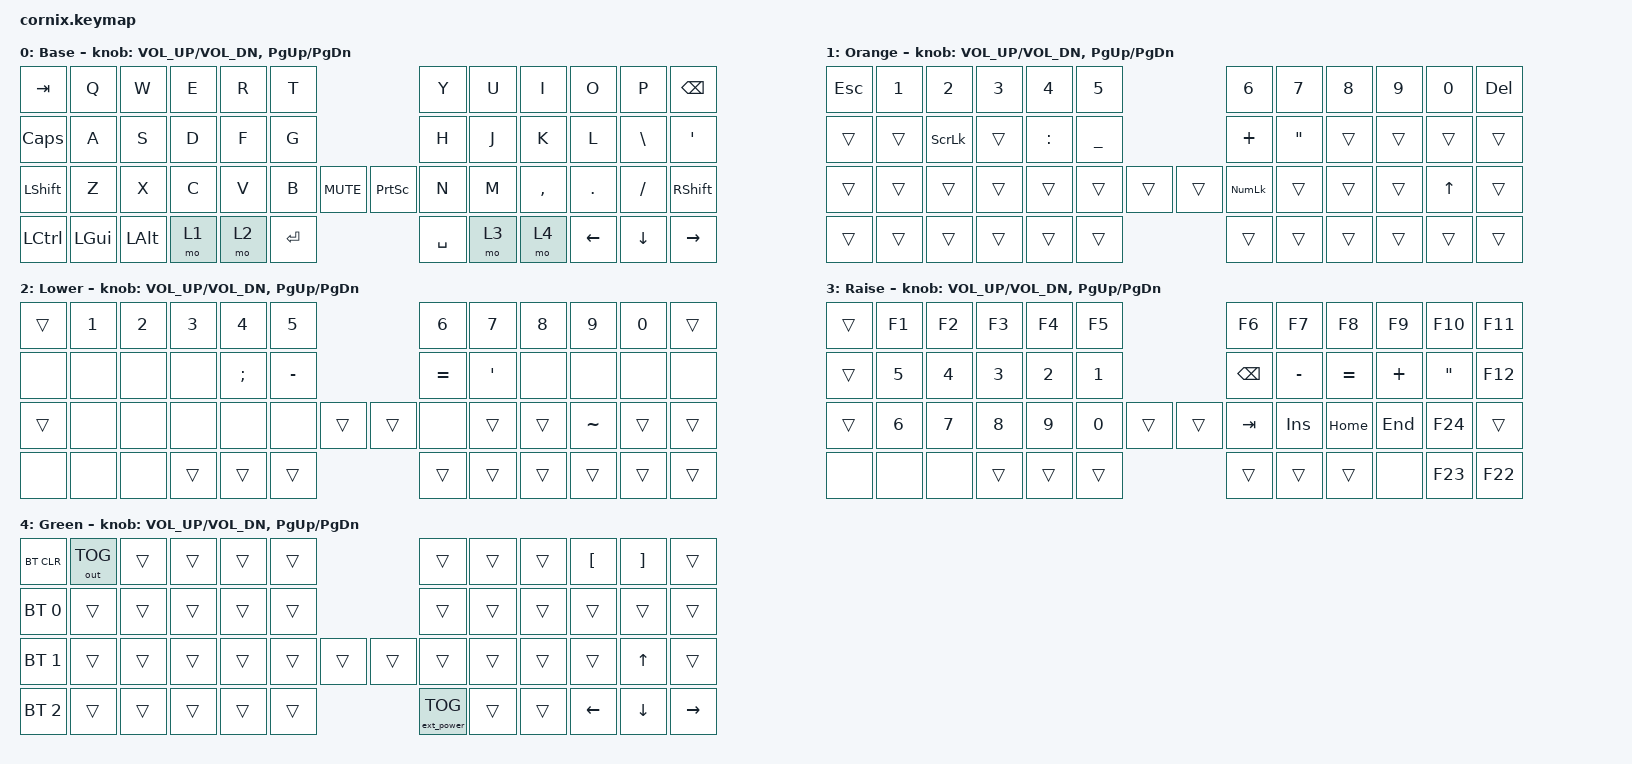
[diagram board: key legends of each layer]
/*
 * Copyright (c) 2025 The ZMK Contributors
 *
 * SPDX-License-Identifier: MIT
 */

#include "zmk-helpers/helper.h"
#include "includes/cornix54.h"
#include <behaviors.dtsi>
#include <dt-bindings/zmk/bt.h>
#include <dt-bindings/zmk/keys.h>
#include <dt-bindings/zmk/ext_power.h>
#include <dt-bindings/zmk/outputs.h>

// tap windows for ctl alt and gui

#define HM_TAPPING_TERM 250
#define HM_TAPPING_REPEAT 210

// quick tapping for shift

#define HM_TAPPING_TERM_FAST    200
#define HM_PRIOR_IDLE           70
#define ORANGE                  0
#define LOWER                   1
#define BASE                    2
#define RAISE                   3
#define GREEN                   4

// https://github.com/urob/zmk-config/tree/main#timeless-homerow-mods

#define KEYS_L LT0 LT1 LT2 LT3 LT4 LT5 LM0 LM1 LM2 LM3 LM4 LM5 LB0 LB1 LB2 LB3 LB4 LB5  // left hand
#define KEYS_R RT0 RT1 RT2 RT3 RT4 RT5 RM0 RM1 RM2 RM3 RM4 RM5 RB0 RB1 RB2 RB3 RB4 RB5  // right hand
#define THUMBS LH1 LH0 RH0 RH1
#define KEYS_T LH1 LH0 RH0 RH1
#define ZMK_POINTING_DEFAULT_SCRL_VAL 15

/ {

    conditional_layers { compatible = "zmk,conditional-layers"; };

    combos {
        compatible = "zmk,combos";

        new_combo {
            bindings = <&caps_word>;
            key-positions = <42 45>;
        };

        numlock_kp {
            bindings = <&tog 1>;
            key-positions = <41 46>;
        };
    };

    keymap {
        compatible = "zmk,keymap";

        default_layer {
            display-name = "Base";
            bindings = <
&kp TAB           &kp Q         &kp W         &kp E  &kp R  &kp T                                   &kp Y      &kp U  &kp I      &kp O           &kp P           &kp BACKSPACE
&kp CAPS          &kp A         &kp S         &kp D  &kp F  &kp G                                   &kp H      &kp J  &kp K      &kp L           &kp BACKSLASH   &kp SQT
&kp LSHFT         &kp Z         &kp X         &kp C  &kp V  &kp B      &kp C_MUTE  &kp PRINTSCREEN  &kp N      &kp M  &kp COMMA  &kp DOT         &kp FSLH        &kp RIGHT_SHIFT
&kp LEFT_CONTROL  &kp LEFT_GUI  &kp LEFT_ALT  &mo 1  &mo 2  &kp ENTER                               &kp SPACE  &mo 3  &mo 4      &kp LEFT_ARROW  &kp DOWN_ARROW  &kp RIGHT_ARROW
            >;

            sensor-bindings = <&inc_dec_kp C_VOL_UP C_VOL_DN &inc_dec_kp PG_UP PG_DN>;
        };

        orange_layer {
            display-name = "Orange";
            bindings = <
&kp ESCAPE  &kp NUMBER_1  &kp N2          &kp N3  &kp N4     &kp N5                     &kp N6          &kp N7             &kp N8  &kp N9  &kp N0        &kp DEL
&trans      &trans        &kp SCROLLLOCK  &trans  &kp COLON  &kp UNDER                  &kp PLUS        &kp DOUBLE_QUOTES  &trans  &trans  &trans        &trans
&trans      &trans        &trans          &trans  &trans     &trans     &trans  &trans  &kp KP_NUMLOCK  &trans             &trans  &trans  &kp UP_ARROW  &trans
&trans      &trans        &trans          &trans  &trans     &trans                     &trans          &trans             &trans  &trans  &trans        &trans
            >;

            sensor-bindings = <&inc_dec_kp C_VOL_UP C_VOL_DN &inc_dec_kp PG_UP PG_DN>;
        };

        lower_layer {
            display-name = "Lower";
            bindings = <
&trans  &kp NUMBER_1  &kp NUMBER_2  &kp NUMBER_3  &kp NUMBER_4  &kp NUMBER_5                  &kp NUMBER_6  &kp NUMBER_7      &kp NUMBER_8  &kp NUMBER_9  &kp NUMBER_0  &trans
&none   &none         &none         &none         &kp SEMI      &kp MINUS                     &kp EQUAL     &kp SINGLE_QUOTE  &none         &none         &none         &none
&trans  &none         &none         &none         &none         &none         &trans  &trans  &none         &trans            &trans        &kp TILDE     &trans        &trans
&none   &none         &none         &trans        &trans        &trans                        &trans        &trans            &trans        &trans        &trans        &trans
            >;

            sensor-bindings = <&inc_dec_kp C_VOL_UP C_VOL_DN &inc_dec_kp PG_UP PG_DN>;
        };

        raise_layer {
            display-name = "Raise";
            bindings = <
&trans  &kp F1  &kp F2  &kp F3  &kp F4  &kp F5                  &kp F6    &kp F7     &kp F8     &kp F9    &kp F10  &kp F11
&trans  &kp N5  &kp N4  &kp N3  &kp N2  &kp N1                  &kp BSPC  &kp MINUS  &kp EQUAL  &kp PLUS  &kp DQT  &kp F12
&trans  &kp N6  &kp N7  &kp N8  &kp N9  &kp N0  &trans  &trans  &kp TAB   &kp INS    &kp HOME   &kp END   &kp F24  &trans
&none   &none   &none   &trans  &trans  &trans                  &trans    &trans     &trans     &none     &kp F23  &kp F22
            >;

            sensor-bindings = <&inc_dec_kp C_VOL_UP C_VOL_DN &inc_dec_kp PG_UP PG_DN>;
        };

        green_layer {
            display-name = "Green";
            bindings = <
&bt BT_CLR    &out OUT_TOG  &trans  &trans  &trans  &trans                  &trans  &trans  &trans  &kp LEFT_BRACKET  &kp RIGHT_BRACKET  &trans
&bt BT_SEL 0  &trans  &trans  &trans  &trans  &trans                  &trans  &trans  &trans  &trans            &trans             &trans
&bt BT_SEL 1  &trans  &trans  &trans  &trans  &trans  &trans  &trans  &trans  &trans  &trans  &trans            &kp UP_ARROW       &trans
&bt BT_SEL 2  &trans  &trans  &trans  &trans  &trans                  &ext_power EP_TOG  &trans  &trans  &kp LEFT_ARROW    &kp DOWN_ARROW     &kp RIGHT_ARROW
            >;

            sensor-bindings = <&inc_dec_kp C_VOL_UP C_VOL_DN &inc_dec_kp PG_UP PG_DN>;
        };
    };
};
